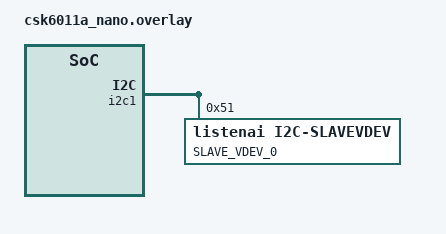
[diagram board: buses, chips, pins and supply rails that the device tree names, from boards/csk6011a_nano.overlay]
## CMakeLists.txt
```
# SPDX-License-Identifier: Apache-2.0

cmake_minimum_required(VERSION 3.20.0)
find_package(Zephyr REQUIRED HINTS $ENV{ZEPHYR_BASE})
project(BM8563)
add_subdirectory(./src)
FILE(GLOB app_sources src/*.c)
target_sources(app PRIVATE ${app_sources})
```

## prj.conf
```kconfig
CONFIG_STDOUT_CONSOLE=y
CONFIG_PRINTK=y
CONFIG_LOG=y
CONFIG_PRINTK=y
CONFIG_I2C=y
```

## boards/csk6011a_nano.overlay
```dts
/*
 * Copyright (c) 2023 Anhui(Shenzhen) Listenai Co., Ltd.
 *
 * SPDX-License-Identifier: Apache-2.0
 */
&pinctrl {
	/* I2C alternate function */
	pinctrl_i2c0_scl_default: i2c0_scl_default{
		pinctrls = <I2C0_SCL_GPIOA_10>;
	};

	pinctrl_i2c0_sda_default: i2c0_sda_default{
		pinctrls = <I2C0_SDA_GPIOA_11>;
	};

	pinctrl_i2c1_scl_default: i2c1_scl_default{
		pinctrls = <I2C1_SCL_GPIOB_03>;
	};

	pinctrl_i2c1_sda_default: i2c1_sda_default{
		pinctrls = <I2C1_SDA_GPIOB_04>;
	};

};


&i2c1 {
	status = "okay";
	pinctrl-0 = <&pinctrl_i2c1_scl_default &pinctrl_i2c1_sda_default>;
	pinctrl-names = "default";

	i2cslavevdev0: i2cslavevdev@32 {
		compatible = "listenai,i2c-slavevdev";
		reg = <0x51>;
		label = "SLAVE_VDEV_0";
		size = <256>;
	};
};

&i2c0 {
	status = "disabled";
	pinctrl-0 = <&pinctrl_i2c0_scl_default &pinctrl_i2c0_sda_default>;
	pinctrl-names = "default";
};
```

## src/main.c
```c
#include <zephyr/device.h>
#include <zephyr/drivers/i2c.h>
#include <zephyr/zephyr.h>
#include <zephyr/sys/printk.h>
#include <stdlib.h>
#include <stdio.h>
#include <time.h>

#include "bm8563.h"

#include <logging/log.h>
LOG_MODULE_REGISTER(main, LOG_LEVEL_INF);

#if DT_NODE_HAS_STATUS(DT_ALIAS(i2c_1), okay)
#define I2C1_DEV_NAME DT_LABEL(DT_ALIAS(i2c_1))
#else
#error "can't find I2C1 device"
#endif

#define I2C_DEV_NAME "I2C_1"
#define BM8563_ADDR  0x51
#define NODE_VIRTUAL_DEV DT_NODELABEL(i2cslavevdev0)
const struct device *i2c_dev = DT_LABEL(NODE_VIRTUAL_DEV);

struct tm rtc;
char buffer[128];
bm8563_t bm;


int i2c_dev_init(const struct device **pdev, const char *dev_name, uint32_t i2c_config)
{
	*pdev = device_get_binding(dev_name);
	if (*pdev == NULL) {
		printk("%s: Device is not found.\n", dev_name);
		return -ENODEV;
	}

	if (!device_is_ready(*pdev)) {
		printk("%s: Device is not ready.\n", dev_name);
		return -ENODEV;
	}

	if (i2c_configure(*pdev, i2c_config)) {
		printk("%s: config failed\n", dev_name);
		return -EINVAL;
	}

	return 0;
}


int main(void)
{
	LOG_INF("MAIN STARTED: BM8563 RTC");
	int ret = i2c_dev_init(&i2c_dev, I2C_DEV_NAME, I2C_SPEED_SET(I2C_SPEED_STANDARD) | I2C_MODE_MASTER);
	if (ret < 0) {
		printk("I2C: Failed to init device.\n");
		return;
	}
	LOG_INF("INIT SUCCESS: i2c_dev_init");

	bm.read = &i2c_burst_read;
	bm.write = &i2c_burst_write;
	bm.handle = i2c_dev;
    bm8563_init(&bm);
	LOG_INF("BM8563 RTC INITIALIZED");

	while(1){
		bm8563_read(&bm, &rtc);
		LOG_INF("RTC Time: %d-%d-%d %d:%d:%d", 	rtc.tm_year, rtc.tm_mon, rtc.tm_mday, 
											rtc.tm_hour, rtc.tm_min, rtc.tm_sec);
		k_msleep(1000);
	}

    return 0;
}
```
